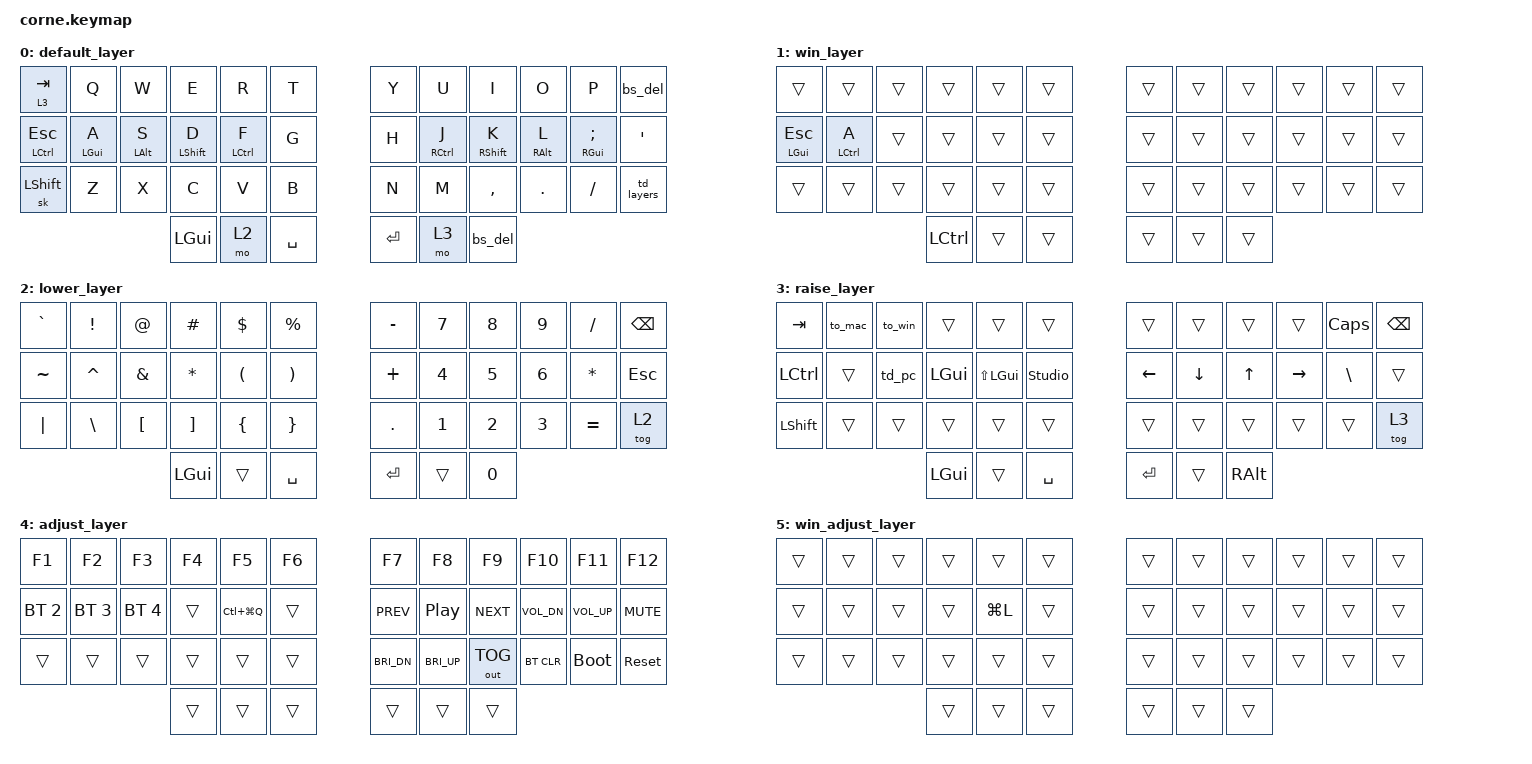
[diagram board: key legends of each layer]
/*
 * Copyright (c) 2020 The ZMK Contributors
 *
 * SPDX-License-Identifier: MIT
 */

#include <behaviors.dtsi>
#include <dt-bindings/zmk/keys.h>
#include <dt-bindings/zmk/bt.h>
#include <dt-bindings/zmk/outputs.h>
#include <dt-bindings/zmk/modifiers.h>

// Corne key positions (for positional hold-tap):
//  0  1  2  3  4  5     6  7  8  9 10 11
// 12 13 14 15 16 17    18 19 20 21 22 23
// 24 25 26 27 28 29    30 31 32 33 34 35
//          36 37 38    39 40 41

#define KEYS_LEFT  0 1 2 3 4 5 12 13 14 15 16 17 24 25 26 27 28 29
#define KEYS_RIGHT 6 7 8 9 10 11 18 19 20 21 22 23 30 31 32 33 34 35
#define THUMBS     36 37 38 39 40 41

/ {
        behaviors {
                // Home-row mod for LEFT-hand keys: the hold (modifier) only
                // triggers if a RIGHT-hand or thumb key is pressed next.
                hml: home_row_mod_left {
                        compatible = "zmk,behavior-hold-tap";
                        #binding-cells = <2>;
                        flavor = "balanced";
                        tapping-term-ms = <280>;
                        quick-tap-ms = <175>;
                        require-prior-idle-ms = <100>;
                        bindings = <&kp>, <&kp>;
                        hold-trigger-key-positions = <KEYS_RIGHT THUMBS>;
                        hold-trigger-on-release;
                };

                // Home-row mod for RIGHT-hand keys: mirror of the above.
                hmr: home_row_mod_right {
                        compatible = "zmk,behavior-hold-tap";
                        #binding-cells = <2>;
                        flavor = "balanced";
                        tapping-term-ms = <280>;
                        quick-tap-ms = <175>;
                        require-prior-idle-ms = <100>;
                        bindings = <&kp>, <&kp>;
                        hold-trigger-key-positions = <KEYS_LEFT THUMBS>;
                        hold-trigger-on-release;
                };

                // Double-tap to toggle "PC mode" (the Windows/Linux Cmd<->Ctrl
                // overlay, layer 1). Single tap does nothing, so it won't flip by
                // accident. Use this for the Linux VM running on the Mac, where the
                // BT profile doesn't change.
                td_pc: tap_dance_pc {
                        compatible = "zmk,behavior-tap-dance";
                        #binding-cells = <0>;
                        tapping-term-ms = <250>;
                        bindings = <&none>, <&tog 1>;
                };

                // Layer LOCK key (replaces the spare ESC, bottom-right of base layer):
                //   single tap  -> lock/unlock the Lower layer  (&tog 2)
                //   double tap  -> lock/unlock the Raise layer  (&tog 3)
                // Tap again on the same one to release it. (ESC is still available
                // on the ESC/CTL key to the left of A.)
                td_layers: tap_dance_layers {
                        compatible = "zmk,behavior-tap-dance";
                        #binding-cells = <0>;
                        tapping-term-ms = <250>;
                        bindings = <&tog 2>, <&tog 3>;
                };

                // Backspace that morphs into Delete when Shift is held:
                //   tap        -> Backspace
                //   Shift+tap  -> Delete (forward delete)
                bs_del: backspace_delete {
                        compatible = "zmk,behavior-mod-morph";
                        #binding-cells = <0>;
                        bindings = <&kp BSPC>, <&kp DEL>;
                        mods = <(MOD_LSFT|MOD_RSFT)>;
                };
        };

        macros {
                // BT profile 1 = Mac:  connect to profile 0 AND drop the Windows
                // overlay, so Cmd stays Cmd. Bound to the "BT0" key on the raise layer.
                to_mac: to_mac {
                        compatible = "zmk,behavior-macro";
                        #binding-cells = <0>;
                        bindings = <&to 0 &bt BT_SEL 0>;
                };

                // BT profile 2 = Windows:  connect to profile 1 AND turn on the
                // Windows overlay (layer 1), which swaps Cmd<->Ctrl on the home row
                // and thumb. Bound to the "BT1" key on the raise layer.
                to_win: to_win {
                        compatible = "zmk,behavior-macro";
                        #binding-cells = <0>;
                        bindings = <&to 1 &bt BT_SEL 1>;
                };
        };

        combos {
                compatible = "zmk,combos";
                // Combos fire on the base layer AND the PC/Linux overlay
                // (layers = <0 1>) so they keep working in Windows/Linux mode.
                // NOTE: ZMK matches a combo against the HIGHEST active layer, so
                // when the win overlay (layer 1) is on it must be listed here or
                // the combos go dead. Not listed on Lower/Raise/Adjust so they
                // can't misfire there. Positions per the map at the top of file.
                combo_caps {            // F + J  (two-handed) -> Caps Word
                        timeout-ms = <45>;
                        key-positions = <16 19>;
                        layers = <0 1>;
                        bindings = <&caps_word>;
                };
                combo_esc {             // J + K -> Esc
                        timeout-ms = <45>;
                        key-positions = <19 20>;
                        layers = <0 1>;
                        bindings = <&kp ESC>;
                };
                combo_tab {             // D + F -> Tab
                        timeout-ms = <45>;
                        key-positions = <15 16>;
                        layers = <0 1>;
                        bindings = <&kp TAB>;
                };
                combo_apos {            // L + ; -> '  (keeps the pinky off the 6th column)
                        timeout-ms = <45>;
                        key-positions = <21 22>;
                        layers = <0 1>;
                        bindings = <&kp SQT>;
                };
        };

        conditional_layers {
                compatible = "zmk,conditional-layers";
                // Tri-layer: hold BOTH Lower (2) and Raise (3) to reach Adjust (4).
                tri_adjust {
                        if-layers = <2 3>;
                        then-layer = <4>;
                };
                // When PC mode (win overlay, 1) is also active, layer 5 sits on top
                // of Adjust and only overrides the LOCK key with the Windows/Linux
                // lock (Super+L). In Mac mode layer 1 is off, so the Adjust layer's
                // Mac lock (Cmd+Ctrl+Q) shows instead. This is what makes LOCK
                // follow the current OS automatically. (win 1 + lower 2 + raise 3)
                tri_win_adjust {
                        if-layers = <1 2 3>;
                        then-layer = <5>;
                };
        };

        keymap {
                compatible = "zmk,keymap";

                default_layer {
// -----------------------------------------------------------------------------------------
// | LT3/TAB |  Q  |  W  |  E  |  R  |  T  |   |  Y  |  U  |  I  |  O  |  P  | BS*  |
// | ESC/CTL |GUI/A|ALT/S|SFT/D|CTL/F|  G  |   |  H  |CTL/J|SFT/K|ALT/L|GUI/;|  '   |
// |   SHFT  |  Z  |  X  |  C  |  V  |  B  |   |  N  |  M  |  ,  |  .  |  /  | LYR* |
//                        | GUI | LWR | SPC |   | ENT | RSE | BS*  |
//   SHFT (bottom-left) = one-shot Shift: TAP = capitalize the next letter only,
//        HOLD = normal Shift. (Home-row D/K still work as held Shift too.)
//   LYR* = tap to lock Lower, double-tap to lock Raise (tap again to release)
//   BS*  = Backspace; hold Shift + tap = Delete (forward delete)
//   Combos (base): F+J = Caps Word, J+K = Esc, D+F = Tab
                        bindings = <
   &lt 3 TAB        &kp Q         &kp W         &kp E          &kp R          &kp T          &kp Y    &kp U          &kp I          &kp O         &kp P            &bs_del
   &hml LCTRL ESC   &hml LGUI A   &hml LALT S   &hml LSHFT D   &hml LCTRL F   &kp G          &kp H    &hmr RCTRL J   &hmr RSHFT K   &hmr RALT L   &hmr RGUI SEMI   &kp SQT
   &sk LSHFT        &kp Z         &kp X         &kp C          &kp V          &kp B          &kp N    &kp M          &kp COMMA      &kp DOT       &kp FSLH         &td_layers
                                                &kp LGUI       &mo 2          &kp SPACE      &kp RET  &mo 3          &bs_del
                        >;
                };

                win_layer {
// -----------------------------------------------------------------------------------------
// PC/Linux overlay -- now layer 1, BELOW Lower/Raise so it only overlays the BASE
// layer and never shadows Lower/Raise keys (that bug killed ~ and ^ in Linux mode).
// Turned on by the WIN key or double-tap PC; off by the MAC key. Everything is
// &trans EXCEPT the left-hand + thumb mods, which swap Cmd<->Ctrl so Windows/Linux
// Ctrl-shortcuts land correctly while keeping the home-row mods. ALT/SHIFT unchanged.
//   home row:  Cmd/A -> Ctrl/A    outer: Ctrl/ESC -> Cmd/ESC    thumb: GUI -> CTRL
//   (F and the right-hand J / ; mods are left alone.)
                        bindings = <
   &trans          &trans          &trans   &trans   &trans   &trans         &trans   &trans          &trans   &trans   &trans            &trans
   &hml LGUI ESC   &hml LCTRL A    &trans   &trans   &trans        &trans     &trans   &trans          &trans   &trans   &trans            &trans
   &trans          &trans          &trans   &trans   &trans   &trans         &trans   &trans          &trans   &trans   &trans            &trans
                                            &kp LCTRL   &trans   &trans       &trans   &trans   &trans
                        >;
                };

                lower_layer {
// -----------------------------------------------------------------------------------------
// |  `  |  !  |  @  |  #  |  $  |  %  |   |  -  |  7  |  8  |  9  |  /  | BSPC |
// |  ~  |  ^  |  &  |  *  |  (  |  )  |   |  +  |  4  |  5  |  6  |  *  | ESC  |
// |  |  |  \  |  [  |  ]  |  {  |  }  |   |  .  |  1  |  2  |  3  |  =  | unlk |
//                    | GUI | LWR | SPC |   | ENT | RSE |  0  |
//   Numbers shifted to the home columns (index/middle/ring); - + . on the
//   inner column, / * = on the outer column. 0 stays on the thumb.
                        bindings = <
   &kp GRAVE  &kp EXCL  &kp AT    &kp HASH  &kp DLLR  &kp PRCNT      &kp MINUS  &kp N7   &kp N8   &kp N9   &kp FSLH   &kp BSPC
   &kp TILDE  &kp CARET &kp AMPS  &kp ASTRK &kp LPAR  &kp RPAR       &kp PLUS   &kp N4   &kp N5   &kp N6   &kp ASTRK  &kp ESC
   &kp PIPE   &kp BSLH  &kp LBKT  &kp RBKT  &kp LBRC  &kp RBRC       &kp DOT    &kp N1   &kp N2   &kp N3   &kp EQUAL  &tog 2
                                   &kp LGUI  &trans    &kp SPACE      &kp RET  &trans   &kp N0
                        >;
                };

                raise_layer {
// -----------------------------------------------------------------------------------------
// | TAB | MAC | WIN |     |     |     |   |     |     |     | CAPS| BSPC |
// | CTL |     | PC* | SUP | WM* | UNLK|   | LFT | DWN |  UP | RGT |  \  |      |
// | SHT |     |     |     |     |     |   |     |     |     |     |     | unlk |
//                    | GUI |     | SPC |   | ENT | RSE | ALT |
//   MAC/WIN = BT profile + OS mode.   Window mgmt: PC* (Ctrl-mode), SUP (focus),
//   WM* (move/snap).   Arrows on the right.   UNLK = ZMK Studio unlock.   CAPS = Caps Lock.
//   F-keys, extra BT profiles, media, brightness & lock now live on the ADJUST
//   layer (hold BOTH Lower + Raise).   'unlk' (bottom-right) releases a locked Raise.
                        bindings = <
   &kp TAB    &to_mac       &to_win       &trans        &trans        &trans             &trans    &trans    &trans   &trans     &kp CAPS &kp BSPC
   &kp LCTRL  &trans        &td_pc        &kp LGUI      &kp LS(LGUI)  &studio_unlock     &kp LEFT  &kp DOWN  &kp UP   &kp RIGHT  &kp BSLH &trans
   &kp LSHFT  &trans        &trans        &trans        &trans        &trans             &trans    &trans    &trans   &trans     &trans   &tog 3
                                          &kp LGUI      &trans        &kp SPACE          &kp RET   &trans    &kp RALT
                        >;
                };

                adjust_layer {
// -----------------------------------------------------------------------------------------
// Adjust layer (4) — reached by holding BOTH Lower + Raise (tri-layer).
// |  F1 |  F2 |  F3 |  F4 |  F5 |  F6 |   |  F7 |  F8 |  F9 | F10 | F11 | F12 |
// | BT2 | BT3 | BT4 |     | LCK |     |   | PRV | P/P | NXT | VL- | VL+ | MUT |
// |     |     |     |     |     |     |   | BR- | BR+ | OUT |BCLR | BOOT| RST |
//                    |     |     |     |   |     |     |     |
//   LCK = lock computer, OS-aware: Cmd+Ctrl+Q on Mac, Super+L in PC/Win mode.
//   Bottom-right corner = rarely-used / careful keys, tucked out of the way:
//   OUT = toggle USB/BLE output.  BCLR = clear current BT pairing.
//   BOOT = bootloader (flash mode).  RST = reset.   BR-/BR+ = display brightness.
                        bindings = <
   &kp F1        &kp F2        &kp F3        &kp F4      &kp F5        &kp F6           &kp F7       &kp F8       &kp F9      &kp F10       &kp F11       &kp F12
   &bt BT_SEL 2  &bt BT_SEL 3  &bt BT_SEL 4  &trans      &kp LC(LG(Q)) &trans           &kp C_PREV   &kp C_PP     &kp C_NEXT  &kp C_VOL_DN  &kp C_VOL_UP  &kp C_MUTE
   &trans        &trans        &trans        &trans      &trans        &trans           &kp C_BRI_DN &kp C_BRI_UP &out OUT_TOG &bt BT_CLR   &bootloader   &sys_reset
                                             &trans      &trans        &trans           &trans       &trans       &trans
                        >;
                };

                win_adjust_layer {
// -----------------------------------------------------------------------------------------
// PC-mode Adjust overlay (layer 5). Active only when PC mode (win, layer 1) is on
// AND you're holding both Lower + Raise. Everything is &trans EXCEPT the LOCK key,
// which becomes Super+L (locks Windows; also locks most Linux desktops). This is
// what makes the single LCK key follow the OS automatically.
                        bindings = <
   &trans   &trans   &trans   &trans   &trans     &trans       &trans   &trans   &trans   &trans   &trans   &trans
   &trans   &trans   &trans   &trans   &kp LG(L)  &trans       &trans   &trans   &trans   &trans   &trans   &trans
   &trans   &trans   &trans   &trans   &trans     &trans       &trans   &trans   &trans   &trans   &trans   &trans
                              &trans   &trans     &trans       &trans   &trans   &trans
                        >;
                };
        };
};
